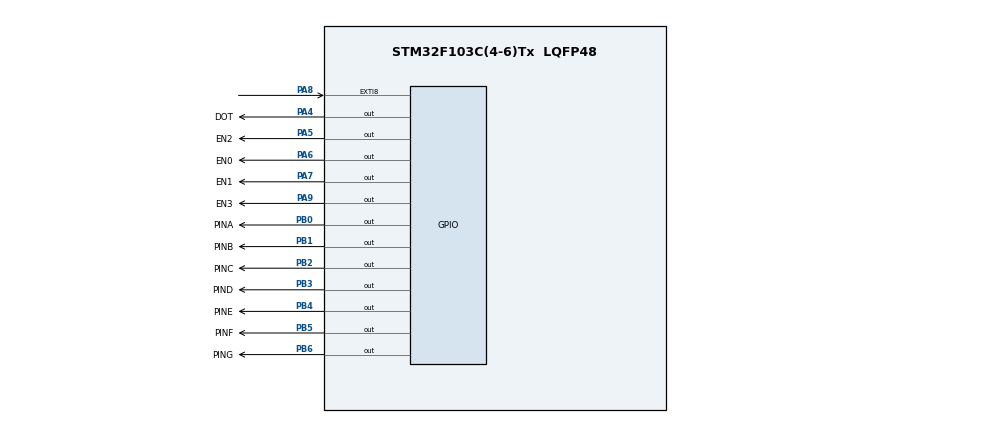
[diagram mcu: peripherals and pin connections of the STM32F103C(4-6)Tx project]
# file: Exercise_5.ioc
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Mcu.Family=STM32F1
Mcu.Name=STM32F103C(4-6)Tx
Mcu.Package=LQFP48
NVIC.PriorityGroup=NVIC_PRIORITYGROUP_4
NVIC.TIM2_IRQn=true\:0\:0\:false\:false\:true\:true\:true\:true
PA4.GPIO_Label=DOT
PA4.Signal=GPIO_Output
PA5.GPIO_Label=EN2
PA5.Signal=GPIO_Output
PA6.GPIO_Label=EN0
PA6.Signal=GPIO_Output
PA7.GPIO_Label=EN1
PA7.Signal=GPIO_Output
PA8.Signal=GPXTI8
PA9.GPIO_Label=EN3
PA9.Signal=GPIO_Output
PB0.GPIO_Label=PINA
PB0.Signal=GPIO_Output
PB1.GPIO_Label=PINB
PB1.Signal=GPIO_Output
PB2.GPIO_Label=PINC
PB2.Signal=GPIO_Output
PB3.GPIO_Label=PIND
PB3.Signal=GPIO_Output
PB4.GPIO_Label=PINE
PB4.Signal=GPIO_Output
PB5.GPIO_Label=PINF
PB5.Signal=GPIO_Output
PB6.GPIO_Label=PING
PB6.Signal=GPIO_Output
ProjectManager.HeapSize=0x200
ProjectManager.StackSize=0x400
ProjectManager.TargetToolchain=STM32CubeIDE
RCC.APB1Freq_Value=8000000
RCC.APB2Freq_Value=8000000
TIM2.Period=9
TIM2.Prescaler=7999
VP_SYS_VS_ND.Mode=No_Debug
VP_TIM2_VS_ClockSourceINT.Mode=Internal
board=custom

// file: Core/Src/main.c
/* USER CODE BEGIN Header */
/**
  ******************************************************************************
  * @file           : main.c
  * @brief          : Main program body
  ******************************************************************************
  * @attention
  *
  * Copyright (c) 2024 STMicroelectronics.
  * All rights reserved.
  *
  * This software is licensed under terms that can be found in the LICENSE file
  * in the root directory of this software component.
  * If no LICENSE file comes with this software, it is provided AS-IS.
  *
  ******************************************************************************
  */
/* USER CODE END Header */
#include "main.h"

/* USER CODE BEGIN Includes */
#include "Control_7SEG.h"
#include "Timer.h"
/* USER CODE END Includes */

TIM_HandleTypeDef htim2;

void SystemClock_Config(void);
static void MX_GPIO_Init(void);
static void MX_TIM2_Init(void);

/* USER CODE BEGIN 0 */
static int time_buffer[2] = {0,0};
void updateClockBuffer(int hour, int minute){
	time_buffer[0] = hour;
	time_buffer[1] = minute;
}
/* USER CODE END 0 */

int main(void)
{

  /* MCU Configuration--------------------------------------------------------*/

  /* Reset of all peripherals, Initializes the Flash interface and the Systick. */
  HAL_Init();

  /* Configure the system clock */
  SystemClock_Config();

  /* Initialize all configured peripherals */
  MX_GPIO_Init();
  MX_TIM2_Init();
  /* USER CODE BEGIN 2 */
  HAL_TIM_Base_Start_IT(&htim2);
  /* USER CODE END 2 */

  /* Infinite loop */
  /* USER CODE BEGIN WHILE */
  int hour = 15, minute = 8, second = 50, index = 0;
//  setTime(1000,0);
//  setTime(200,1);
  updateClockBuffer(hour, minute);
  --second;

  while (1)
  {
	  if(second >= 60){
		  ++minute;
		  second = 0;
	  }
	  if(minute >= 60){
		  ++hour;
		  minute = 0;
	  }
	  if(hour >= 24){
		  hour = 0;
	  }
	  if(flag[0]){
		  setTime(1000,0);
		  updateClockBuffer(hour, minute);
		  ++second;
	  }
	  if(flag[1]){
		  setTime(200,1);
		  HAL_GPIO_TogglePin(DOT_GPIO_Port, DOT_Pin);
		  update7SEG(index, time_buffer);
		  index = (index < 3) ? index + 1 : 0;
	  }
    /* USER CODE END WHILE */

  }
}

void SystemClock_Config(void)
{
  RCC_OscInitTypeDef RCC_OscInitStruct = {0};
  RCC_ClkInitTypeDef RCC_ClkInitStruct = {0};

  /** Initializes the RCC Oscillators according to the specified parameters
  * in the RCC_OscInitTypeDef structure.
  */
  RCC_OscInitStruct.OscillatorType = RCC_OSCILLATORTYPE_HSI;
  RCC_OscInitStruct.HSIState = RCC_HSI_ON;
  RCC_OscInitStruct.HSICalibrationValue = RCC_HSICALIBRATION_DEFAULT;
  RCC_OscInitStruct.PLL.PLLState = RCC_PLL_NONE;
  if (HAL_RCC_OscConfig(&RCC_OscInitStruct) != HAL_OK)
  {
    Error_Handler();
  }

  /** Initializes the CPU, AHB and APB buses clocks
  */
  RCC_ClkInitStruct.ClockType = RCC_CLOCKTYPE_HCLK|RCC_CLOCKTYPE_SYSCLK
                              |RCC_CLOCKTYPE_PCLK1|RCC_CLOCKTYPE_PCLK2;
  RCC_ClkInitStruct.SYSCLKSource = RCC_SYSCLKSOURCE_HSI;
  RCC_ClkInitStruct.AHBCLKDivider = RCC_SYSCLK_DIV1;
  RCC_ClkInitStruct.APB1CLKDivider = RCC_HCLK_DIV1;
  RCC_ClkInitStruct.APB2CLKDivider = RCC_HCLK_DIV1;

  if (HAL_RCC_ClockConfig(&RCC_ClkInitStruct, FLASH_LATENCY_0) != HAL_OK)
  {
    Error_Handler();
  }
}

static void MX_TIM2_Init(void)
{

  TIM_ClockConfigTypeDef sClockSourceConfig = {0};
  TIM_MasterConfigTypeDef sMasterConfig = {0};

  htim2.Instance = TIM2;
  htim2.Init.Prescaler = 7999;
  htim2.Init.CounterMode = TIM_COUNTERMODE_UP;
  htim2.Init.Period = 9;
  htim2.Init.ClockDivision = TIM_CLOCKDIVISION_DIV1;
  htim2.Init.AutoReloadPreload = TIM_AUTORELOAD_PRELOAD_DISABLE;
  if (HAL_TIM_Base_Init(&htim2) != HAL_OK)
  {
    Error_Handler();
  }
  sClockSourceConfig.ClockSource = TIM_CLOCKSOURCE_INTERNAL;
  if (HAL_TIM_ConfigClockSource(&htim2, &sClockSourceConfig) != HAL_OK)
  {
    Error_Handler();
  }
  sMasterConfig.MasterOutputTrigger = TIM_TRGO_RESET;
  sMasterConfig.MasterSlaveMode = TIM_MASTERSLAVEMODE_DISABLE;
  if (HAL_TIMEx_MasterConfigSynchronization(&htim2, &sMasterConfig) != HAL_OK)
  {
    Error_Handler();
  }

}

static void MX_GPIO_Init(void)
{
  GPIO_InitTypeDef GPIO_InitStruct = {0};

  /* GPIO Ports Clock Enable */
  __HAL_RCC_GPIOA_CLK_ENABLE();
  __HAL_RCC_GPIOB_CLK_ENABLE();

  /*Configure GPIO pin Output Level */
  HAL_GPIO_WritePin(GPIOA, DOT_Pin|EN2_Pin|EN0_Pin|EN1_Pin
                          |EN3_Pin, GPIO_PIN_RESET);

  /*Configure GPIO pin Output Level */
  HAL_GPIO_WritePin(GPIOB, PINA_Pin|PINB_Pin|PINC_Pin|PIND_Pin
                          |PINE_Pin|PINF_Pin|PING_Pin, GPIO_PIN_RESET);

  /*Configure GPIO pins : DOT_Pin EN2_Pin EN0_Pin EN1_Pin
                           EN3_Pin */
  GPIO_InitStruct.Pin = DOT_Pin|EN2_Pin|EN0_Pin|EN1_Pin
                          |EN3_Pin;
  GPIO_InitStruct.Mode = GPIO_MODE_OUTPUT_PP;
  GPIO_InitStruct.Pull = GPIO_NOPULL;
  GPIO_InitStruct.Speed = GPIO_SPEED_FREQ_LOW;
  HAL_GPIO_Init(GPIOA, &GPIO_InitStruct);

  /*Configure GPIO pins : PINA_Pin PINB_Pin PINC_Pin PIND_Pin
                           PINE_Pin PINF_Pin PING_Pin */
  GPIO_InitStruct.Pin = PINA_Pin|PINB_Pin|PINC_Pin|PIND_Pin
                          |PINE_Pin|PINF_Pin|PING_Pin;
  GPIO_InitStruct.Mode = GPIO_MODE_OUTPUT_PP;
  GPIO_InitStruct.Pull = GPIO_NOPULL;
  GPIO_InitStruct.Speed = GPIO_SPEED_FREQ_LOW;
  HAL_GPIO_Init(GPIOB, &GPIO_InitStruct);

  /*Configure GPIO pin : PA8 */
  GPIO_InitStruct.Pin = GPIO_PIN_8;
  GPIO_InitStruct.Mode = GPIO_MODE_IT_RISING;
  GPIO_InitStruct.Pull = GPIO_NOPULL;
  HAL_GPIO_Init(GPIOA, &GPIO_InitStruct);

}

/* USER CODE BEGIN 4 */
void  HAL_TIM_PeriodElapsedCallback(TIM_HandleTypeDef *htim){
	runTime();
}
/* USER CODE END 4 */

void Error_Handler(void)
{
  __disable_irq();
  while (1)
  {
  }
}
